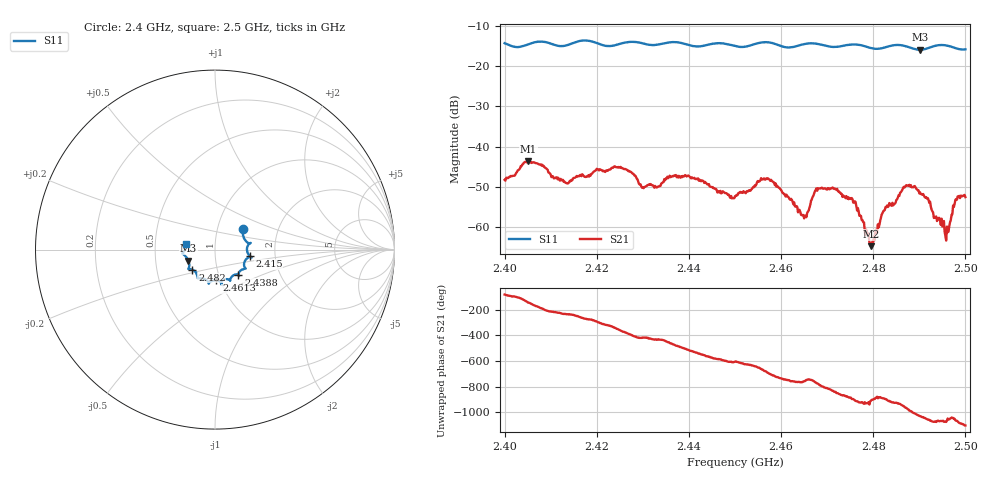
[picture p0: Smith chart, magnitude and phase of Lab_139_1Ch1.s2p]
# Hz S RI R 50
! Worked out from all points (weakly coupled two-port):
!   601 points, 2.4 GHz to 2.5 GHz, reference 50 ohm
!   highest |S21| = -43.64 dB at 2.4052 GHz (marker M1); lowest = -64.8 dB at 2.4795 GHz (marker M2)
!   lowest |S11| = -15.9 dB at 2.4902 GHz (marker M3), VSWR 1.38, Z = 36.9 - j4.68 ohm
!   |S11| at or under -10 dB: start of sweep to end of sweep
!   S12 and S22 are empty: the file has one direction only
!   S11 on the Smith chart (normalised r, x): 2.4 GHz: 1.33, +0.31; 2.415 GHz: 1.47, -0.11; 2.4388 GHz: 1.24, -0.36; 2.4613 GHz: 0.96, -0.34; 2.482 GHz: 0.76, -0.17; 2.5 GHz: 0.72, +0.05
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2.4e9  0.158 0.1121  0.000686 -0.00379  0 0  0 0
2.405167e9  0.1837 0.038  -0.0052 -0.00403  0 0  0 0
2.415e9  0.1924 -0.0358  -0.00205 0.00351  0 0  0 0
2.416667e9  0.2035 -0.0437  -0.000645 0.00423  0 0  0 0
2.424833e9  0.1635 -0.0943  0.00545 0.000444  0 0  0 0
2.433333e9  0.1324 -0.1313  0.00114 -0.00296  0 0  0 0
2.438833e9  0.1301 -0.1406  -0.0032 -0.00282  0 0  0 0
2.45e9  0.0689 -0.1648  -0.000989 0.00219  0 0  0 0
2.456667e9  0.038 -0.1958  0.00301 0.00251  0 0  0 0
2.461333e9  0.0074 -0.1711  0.00214 -0.0011  0 0  0 0
2.465e9  -0.0333 -0.1854  0.001 -0.000794  0 0  0 0
2.466667e9  -0.0349 -0.1898  0.00193 -0.00105  0 0  0 0
2.4685e9  -0.0354 -0.1832  0.00113 -0.00281  0 0  0 0
2.475e9  -0.0928 -0.1609  -0.00219 -0.000486  0 0  0 0
2.4795e9  -0.1033 -0.1331  -0.000565 0.000107  0 0  0 0
2.482e9  -0.1258 -0.1116  -0.00146 -0.000231  0 0  0 0
2.483333e9  -0.1394 -0.1088  -0.00177 0.000401  0 0  0 0
2.487e9  -0.1457 -0.1023  -0.00135 0.00289  0 0  0 0
2.490167e9  -0.148 -0.0619  0.00175 0.00204  0 0  0 0
2.496e9  -0.1798 -0.0173  0.000977 0.000258  0 0  0 0
2.497833e9  -0.1681 -0.00251  0.00208 0.000624  0 0  0 0
2.5e9  -0.1592 0.0325  0.00215 -0.000937  0 0  0 0
